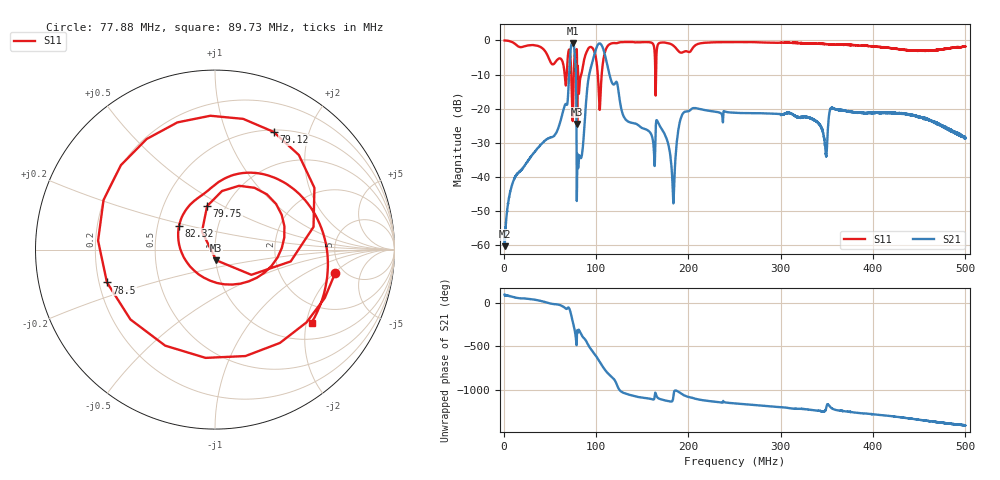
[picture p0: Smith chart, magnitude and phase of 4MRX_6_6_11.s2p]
! NanoVNA-App
! Date: 2026-08-19 18:06:14
! Start: 1MHz Stop: 500MHz Points: 6401
! S-Parameter data: F S11 S21 S12 S22
# Hz S RI R 50
!  Frequency  S11_Real  S11_Imag  S21_Real  S21_Imag  S12_Real  S12_Imag  S22_Real  S22_Imag
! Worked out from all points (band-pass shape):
!   6401 points, 1 MHz to 500 MHz, reference 50 ohm
!   highest |S21| = -0.72 dB at 74.6 MHz (marker M1); lowest = -60.3 dB at 1.156 MHz (marker M2)
!   |S21| within 3 dB of the highest: 72.24 MHz to 76.85 MHz (4.602 MHz wide, 6.17 % of centre); 98.64 MHz to 109.2 MHz (10.52 MHz wide, 10.1 % of centre)
!   lowest |S11| = -24.5 dB at 79.59 MHz (marker M3), VSWR 1.13, Z = 50.3 - j5.97 ohm
!   |S11| at or under -10 dB: 73.14 MHz to 75.92 MHz (2.773 MHz wide, 3.72 % of centre); 80.65 MHz to 84.02 MHz (3.378 MHz wide, 4.1 % of centre); 101.9 MHz to 106.1 MHz (4.235 MHz wide, 4.07 % of centre)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
!   S12 and S22 are empty: the file has one direction only
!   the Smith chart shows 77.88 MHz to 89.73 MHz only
!   S11 on the Smith chart (normalised r, x): 77.88 MHz: 4.26, -2.06; 78.5 MHz: 0.23, -0.14; 79.12 MHz: 0.52, +1.48; 79.75 MHz: 0.82, +0.42; 82.32 MHz: 0.65, +0.18; 89.73 MHz: 1.44, -2.15
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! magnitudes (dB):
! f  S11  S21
! 1 MHz  0.0  -58.2
! 1.156 MHz  0.0  -60.3
! 12.23 MHz  -1.0  -40.0
! 59.09 MHz  -5.4  -25.7
! 74.6 MHz  -23.2  -0.7
! 77.88 MHz  -3.3  -7.7
! 78.5 MHz  -4.0  -14.9
! 79.12 MHz  -2.7  -43.6
! 79.59 MHz  -24.5  -36.5
! 79.75 MHz  -12.2  -33.6
! 82.32 MHz  -12.4  -33.8
! 84.19 MHz  -9.8  -34.2
! 89.73 MHz  -3.4  -16.3
! 104.3 MHz  -19.4  -0.9
! 131.8 MHz  -0.5  -23.1
! 167.4 MHz  -1.0  -24.2
! 183.4 MHz  -1.5  -46.3
! 195 MHz  -3.3  -21.1
! 250.5 MHz  -0.5  -21.2
! 333.7 MHz  -0.9  -23.0
! 416.9 MHz  -2.2  -21.3
! 500 MHz  -1.8  -28.7
